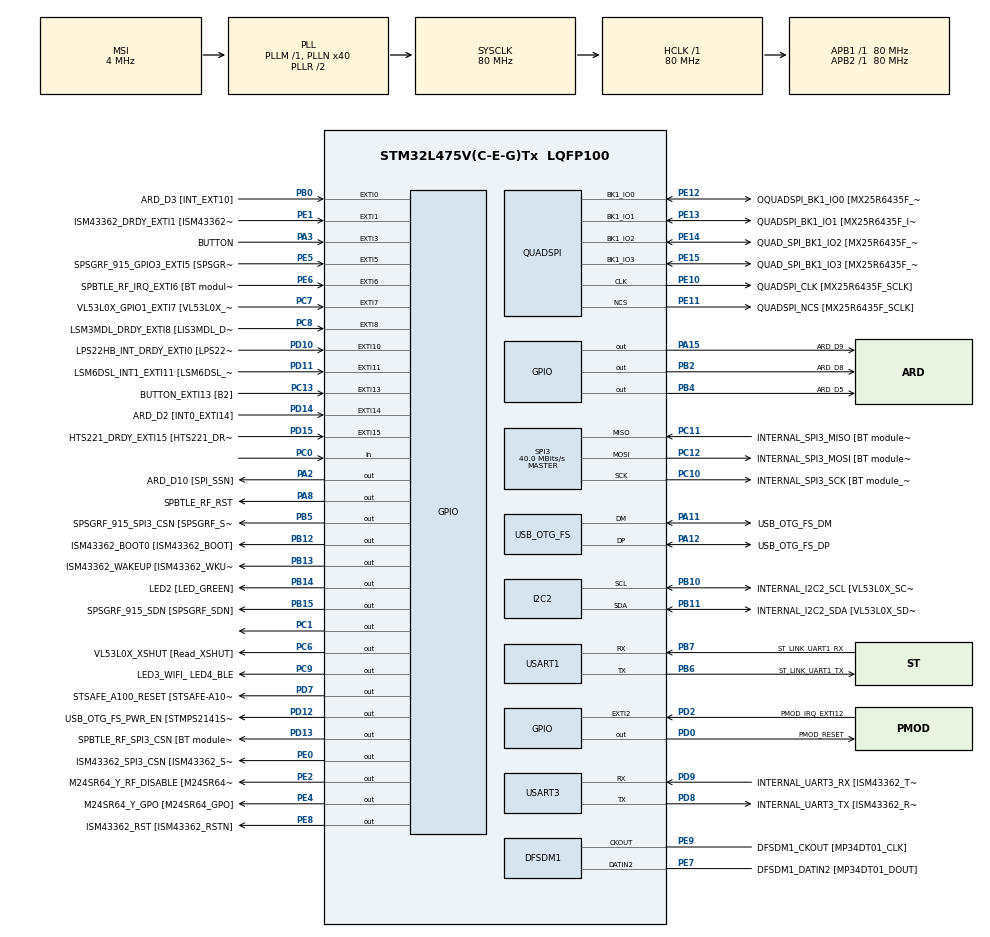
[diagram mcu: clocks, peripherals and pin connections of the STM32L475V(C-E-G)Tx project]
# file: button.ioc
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FREERTOS.Tasks01=defaultTask,24,128,StartDefaultTask,Default,NULL,Dynamic,NULL,NULL
Mcu.Family=STM32L4
Mcu.Name=STM32L475V(C-E-G)Tx
Mcu.Package=LQFP100
NVIC.EXTI15_10_IRQn=true\:5\:0\:false\:false\:true\:true\:true\:true\:true
NVIC.EXTI3_IRQn=true\:5\:0\:false\:false\:true\:true\:true\:true\:true
NVIC.EXTI9_5_IRQn=true\:5\:0\:false\:false\:true\:true\:true\:true\:true
NVIC.PriorityGroup=NVIC_PRIORITYGROUP_4
PA0.GPIO_Label=ARD_D1 [UART4_TX]
PA0.Signal=UART4_TX
PA1.GPIO_Label=ARD_D0 [UART4_RX]
PA1.Signal=UART4_RX
PA10.GPIO_Label=USB_OTG_FS_ID
PA10.Signal=USB_OTG_FS_ID
PA11.GPIO_Label=USB_OTG_FS_DM
PA11.Mode=Device_Only
PA11.Signal=USB_OTG_FS_DM
PA12.GPIO_Label=USB_OTG_FS_DP
PA12.Mode=Device_Only
PA12.Signal=USB_OTG_FS_DP
PA13\ (JTMS-SWDIO).GPIO_Label=SYS_JTMS_SWDIO
PA13\ (JTMS-SWDIO).Mode=Serial_Wire
PA13\ (JTMS-SWDIO).Signal=SYS_JTMS-SWDIO
PA14\ (JTCK-SWCLK).GPIO_Label=SYS_JTCK_SWCLK
PA14\ (JTCK-SWCLK).Mode=Serial_Wire
PA14\ (JTCK-SWCLK).Signal=SYS_JTCK-SWCLK
PA15\ (JTDI).GPIO_Label=ARD_D9
PA15\ (JTDI).Signal=GPIO_Output
PA2.GPIO_Label=ARD_D10 [SPI_SSN]
PA2.Signal=GPIO_Output
PA3.GPIO_Label=BUTTON
PA3.GPIO_ModeDefaultEXTI=GPIO_MODE_IT_RISING_FALLING
PA3.GPIO_PuPd=GPIO_PULLUP
PA3.Signal=GPXTI3
PA4.GPIO_Label=ARD_D7
PA4.Signal=ADCx_IN9
PA5.GPIO_Label=ARD_D13 [SPI1_SCK]
PA5.Signal=SPI1_SCK
PA6.GPIO_Label=ARD_D12 [SPI1_MISO]
PA6.Signal=SPI1_MISO
PA7.GPIO_Label=ARD_D11 [SPI1_MOSI]
PA7.Signal=SPI1_MOSI
PA8.GPIO_Label=SPBTLE_RF_RST
PA8.Signal=GPIO_Output
PA9.GPIO_Label=USB_OTG_FS_VBUS [STMPS2141STR_OUT]
PA9.Signal=USB_OTG_FS_VBUS
PB0.GPIO_Label=ARD_D3 [INT_EXT10]
PB0.Signal=GPXTI0
PB1.GPIO_Label=ARD_D6 [ADC1_IN6]
PB1.Signal=ADCx_IN16
PB10.GPIO_Label=INTERNAL_I2C2_SCL [VL53L0X_SCL]
PB10.GPIO_Pu=GPIO_PULLUP
PB10.Mode=I2C
PB10.Signal=I2C2_SCL
PB11.GPIO_Label=INTERNAL_I2C2_SDA [VL53L0X_SDA]
PB11.GPIO_Pu=GPIO_PULLUP
PB11.Mode=I2C
PB11.Signal=I2C2_SDA
PB12.GPIO_Label=ISM43362_BOOT0 [ISM43362_BOOT]
PB12.Signal=GPIO_Output
PB13.GPIO_Label=ISM43362_WAKEUP [ISM43362_WKUP]
PB13.Signal=GPIO_Output
PB14.GPIO_Label=LED2 [LED_GREEN]
PB14.Signal=GPIO_Output
PB15.GPIO_Label=SPSGRF_915_SDN [SPSGRF_SDN]
PB15.Signal=GPIO_Output
PB2.GPIO_Label=ARD_D8
PB2.Signal=GPIO_Output
PB3\ (JTDO-TRACESWO).GPIO_Label=SYS_JTD0_SWO
PB3\ (JTDO-TRACESWO).Signal=SYS_JTDO-SWO
PB4\ (NJTRST).GPIO_Label=ARD_D5
PB4\ (NJTRST).Signal=GPIO_Output
PB5.GPIO_Label=SPSGRF_915_SPI3_CSN [SPSGRF_SPI_CS]
PB5.PinState=GPIO_PIN_SET
PB5.Signal=GPIO_Output
PB6.GPIO_Label=ST_LINK_UART1_TX
PB6.Mode=Asynchronous
PB6.Signal=USART1_TX
PB7.GPIO_Label=ST_LINK_UART1_RX
PB7.Mode=Asynchronous
PB7.Signal=USART1_RX
PB8.GPIO_Label=ARD_D15 [I2C1_SCL]
PB8.Signal=I2C1_SCL
PB9.GPIO_Label=ARD_D14 [I2C1_SDA]
PB9.Signal=I2C1_SDA
PC0.Signal=GPIO_Input
PC1.Signal=GPIO_Output
PC10.GPIO_Label=INTERNAL_SPI3_SCK [BT module_SPI_SCLK] [ISM43362_SCK]
PC10.Mode=Full_Duplex_Master
PC10.Signal=SPI3_SCK
PC11.GPIO_Label=INTERNAL_SPI3_MISO [BT module_SPI_MISO] [ISM43362_MISO]
PC11.Mode=Full_Duplex_Master
PC11.Signal=SPI3_MISO
PC12.GPIO_Label=INTERNAL_SPI3_MOSI [BT module_SPI_MOSI] [ISM43362_MOSI]
PC12.Mode=Full_Duplex_Master
PC12.Signal=SPI3_MOSI
PC13.GPIO_Label=BUTTON_EXTI13 [B2]
PC13.GPIO_ModeDefaultEXTI=GPIO_MODE_IT_FALLING
PC13.Signal=GPXTI13
PC14-OSC32_IN\ (PC14).Mode=LSE-External-Oscillator
PC14-OSC32_IN\ (PC14).Signal=RCC_OSC32_IN
PC15-OSC32_OUT\ (PC15).Mode=LSE-External-Oscillator
PC15-OSC32_OUT\ (PC15).Signal=RCC_OSC32_OUT
PC2.GPIO_Label=ARD_A3 [ADC]
PC2.Signal=ADCx_IN3
PC3.GPIO_Label=ARD_A2 [ADC]
PC3.Signal=ADCx_IN4
PC4.GPIO_Label=ARD_A1 [ADC]
PC4.Signal=ADCx_IN13
PC5.GPIO_Label=ARD_A0 [ADC]
PC5.Signal=ADCx_IN14
PC6.GPIO_Label=VL53L0X_XSHUT [Read_XSHUT]
PC6.Signal=GPIO_Output
PC7.GPIO_Label=VL53L0X_GPIO1_EXTI7 [VL53L0X_GPIO1]
PC7.Signal=GPXTI7
PC8.GPIO_Label=LSM3MDL_DRDY_EXTI8 [LIS3MDL_DRDY]
PC8.Signal=GPXTI8
PC9.GPIO_Label=LED3_WIFI_ LED4_BLE
PC9.Signal=GPIO_Output
PD0.GPIO_Label=PMOD_RESET
PD0.Signal=GPIO_Output
PD1.GPIO_Label=PMOD_SPI2_SCK
PD1.Signal=SPI2_SCK
PD10.GPIO_Label=LPS22HB_INT_DRDY_EXTI0 [LPS22HB_INT_DRDY] 
PD10.Signal=GPXTI10
PD11.GPIO_Label=LSM6DSL_INT1_EXTI11 [LSM6DSL_INT1]
PD11.Signal=GPXTI11
PD12.GPIO_Label=USB_OTG_FS_PWR_EN [STMPS2141STR_EN]
PD12.Signal=GPIO_Output
PD13.GPIO_Label=SPBTLE_RF_SPI3_CSN [BT module_SPI_CS]
PD13.PinState=GPIO_PIN_SET
PD13.Signal=GPIO_Output
PD14.GPIO_Label=ARD_D2 [INT0_EXTI14]
PD14.Signal=GPXTI14
PD15.GPIO_Label=HTS221_DRDY_EXTI15 [HTS221_DRDY]
PD15.Signal=GPXTI15
PD2.GPIO_Label=PMOD_IRQ_EXTI12
PD2.Signal=GPXTI2
PD3.GPIO_Label=PMOD_UART2_CTS
PD3.Signal=USART2_CTS
PD4.GPIO_Label=PMOD_UART2_RTS
PD4.Signal=USART2_RTS
PD5.GPIO_Label=PMOD_UART2_TX
PD5.Signal=USART2_TX
PD6.GPIO_Label=PMOD_UART2_RX
PD6.Signal=USART2_RX
PD7.GPIO_Label=STSAFE_A100_RESET [STSAFE-A100_RESET]
PD7.Signal=GPIO_Output
PD8.GPIO_Label=INTERNAL_UART3_TX [ISM43362_RX]
PD8.Mode=Asynchronous
PD8.Signal=USART3_TX
PD9.GPIO_Label=INTERNAL_UART3_RX [ISM43362_TX]
PD9.Mode=Asynchronous
PD9.Signal=USART3_RX
PE0.GPIO_Label=ISM43362_SPI3_CSN [ISM43362_SSN]
PE0.PinState=GPIO_PIN_SET
PE0.Signal=GPIO_Output
PE1.GPIO_Label=ISM43362_DRDY_EXTI1 [ISM43362_DATARDY]
PE1.Signal=GPXTI1
PE10.GPIO_Label=QUADSPI_CLK [MX25R6435F_SCLK]
PE10.Mode=Single Bank
PE10.Signal=QUADSPI_CLK
PE11.GPIO_Label=QUADSPI_NCS [MX25R6435F_SCLK]
PE11.Mode=Single Bank
PE11.Signal=QUADSPI_NCS
PE12.GPIO_Label=OQUADSPI_BK1_IO0 [MX25R6435F_IO0]
PE12.Mode=Single Bank
PE12.Signal=QUADSPI_BK1_IO0
PE13.GPIO_Label=QUADSPI_BK1_IO1 [MX25R6435F_IO1]
PE13.Mode=Single Bank
PE13.Signal=QUADSPI_BK1_IO1
PE14.GPIO_Label=QUAD_SPI_BK1_IO2 [MX25R6435F_IO2]
PE14.Mode=Single Bank
PE14.Signal=QUADSPI_BK1_IO2
PE15.GPIO_Label=QUAD_SPI_BK1_IO3 [MX25R6435F_IO3]
PE15.Mode=Single Bank
PE15.Signal=QUADSPI_BK1_IO3
PE2.GPIO_Label=M24SR64_Y_RF_DISABLE [M24SR64_RFDIS]
PE2.Signal=GPIO_Output
PE4.GPIO_Label=M24SR64_Y_GPO [M24SR64_GPO]
PE4.Signal=GPIO_Output
PE5.GPIO_Label=SPSGRF_915_GPIO3_EXTI5 [SPSGRF_GPIO_3]
PE5.Signal=GPXTI5
PE6.GPIO_Label=SPBTLE_RF_IRQ_EXTI6 [BT module_SPI_IRQ]
PE6.Signal=GPXTI6
PE7.GPIO_Label=DFSDM1_DATIN2 [MP34DT01_DOUT]
PE7.Signal=S_DATAIN2DFSDM1
PE8.GPIO_Label=ISM43362_RST [ISM43362_RSTN]
PE8.Signal=GPIO_Output
PE9.GPIO_Label=DFSDM1_CKOUT [MP34DT01_CLK]
PE9.Signal=S_CKOUTDFSDM1
PH0-OSC_IN\ (PH0).Mode=HSE-External-Oscillator
PH0-OSC_IN\ (PH0).Signal=RCC_OSC_IN
PH1-OSC_OUT\ (PH1).Mode=HSE-External-Oscillator
PH1-OSC_OUT\ (PH1).Signal=RCC_OSC_OUT
ProjectManager.HeapSize=0x200
ProjectManager.StackSize=0x400
ProjectManager.TargetToolchain=STM32CubeIDE
QUADSPI.ClockPrescaler=2
QUADSPI.FifoThreshold=4
QUADSPI.FlashSize=23
QUADSPI.SampleShifting=QSPI_SAMPLE_SHIFTING_HALFCYCLE
RCC.ADCFreq_Value=48000000
RCC.AHBFreq_Value=80000000
RCC.APB1Freq_Value=80000000
RCC.APB1TimFreq_Value=80000000
RCC.APB2Freq_Value=80000000
RCC.APB2TimFreq_Value=80000000
RCC.CortexFreq_Value=80000000
RCC.HCLKFreq_Value=80000000
RCC.HSE_VALUE=8000000
RCC.HSI_VALUE=16000000
RCC.MSI_VALUE=4000000
RCC.PLLN=40
RCC.PLLSAI1N=24
RCC.SYSCLKFreq_VALUE=80000000
RCC.SYSCLKSource=RCC_SYSCLKSOURCE_PLLCLK
RCC.USBFreq_Value=48000000
RCC.VCOOutputFreq_Value=160000000
SH.ADCx_IN13.0=ADC1_IN13
SH.ADCx_IN14.0=ADC1_IN14
SH.ADCx_IN16.0=ADC1_IN16
SH.ADCx_IN3.0=ADC1_IN3
SH.ADCx_IN4.0=ADC1_IN4
SH.ADCx_IN9.0=ADC1_IN9
SH.S_CKOUTDFSDM1.0=DFSDM1_CKOUT,CKOUT
SH.S_CKOUTDFSDM1.1=DFSDM1_CKOUT,PDM_SPI_Input_from_ch12_and_Internal_Clock
SH.S_DATAIN2DFSDM1.0=DFSDM1_DATIN2,PDM_SPI_Input_from_ch12_and_Internal_Clock
SPI3.CalculateBaudRate=40.0 MBits/s
SPI3.Direction=SPI_DIRECTION_2LINES
SPI3.Mode=SPI_MODE_MASTER
SPI3.VirtualType=VM_MASTER
USART1.VirtualMode-Asynchronous=VM_ASYNC
USART3.VirtualMode-Asynchronous=VM_ASYNC
USB_OTG_FS.VirtualMode=Device_Only
VP_FREERTOS_VS_CMSIS_V2.Mode=CMSIS_V2
board=B-L475E-IOT01A2

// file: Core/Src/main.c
/* USER CODE BEGIN Header */
/**
  ******************************************************************************
  * @file           : main.c
  * @brief          : Main program body
  ******************************************************************************
  * @attention
  *
  * Copyright (c) 2025 STMicroelectronics.
  * All rights reserved.
  *
  * This software is licensed under terms that can be found in the LICENSE file
  * in the root directory of this software component.
  * If no LICENSE file comes with this software, it is provided AS-IS.
  *
  ******************************************************************************
  */
/* USER CODE END Header */
#include "main.h"
#include "cmsis_os.h"

/* USER CODE BEGIN Includes */
#include <stdio.h>
/* USER CODE END Includes */

DFSDM_Channel_HandleTypeDef hdfsdm1_channel1;

I2C_HandleTypeDef hi2c2;

QSPI_HandleTypeDef hqspi;

SPI_HandleTypeDef hspi3;

UART_HandleTypeDef huart1;
UART_HandleTypeDef huart3;

PCD_HandleTypeDef hpcd_USB_OTG_FS;

/* Definitions for defaultTask */
osThreadId_t defaultTaskHandle;
const osThreadAttr_t defaultTask_attributes = {
  .name = "defaultTask",
  .stack_size = 128 * 4,
  .priority = (osPriority_t) osPriorityNormal,
};

void SystemClock_Config(void);
static void MX_GPIO_Init(void);
static void MX_DFSDM1_Init(void);
static void MX_I2C2_Init(void);
static void MX_QUADSPI_Init(void);
static void MX_SPI3_Init(void);
static void MX_USART1_UART_Init(void);
static void MX_USART3_UART_Init(void);
static void MX_USB_OTG_FS_PCD_Init(void);
void StartDefaultTask(void *argument);

/* USER CODE BEGIN 0 */
int __io_putchar(int ch)
{
	HAL_UART_Transmit(&huart1, (uint8_t *)&ch, 1, 0xFFFF);
	return ch;
}
/* USER CODE END 0 */

int main(void)
{

  /* MCU Configuration--------------------------------------------------------*/

  /* Reset of all peripherals, Initializes the Flash interface and the Systick. */
  HAL_Init();

  /* Configure the system clock */
  SystemClock_Config();

  /* Initialize all configured peripherals */
  MX_GPIO_Init();
  MX_DFSDM1_Init();
  MX_I2C2_Init();
  MX_QUADSPI_Init();
  MX_SPI3_Init();
  MX_USART1_UART_Init();
  MX_USART3_UART_Init();
  MX_USB_OTG_FS_PCD_Init();
  /* USER CODE BEGIN 2 */
  printf("init\n");
  /* USER CODE END 2 */

  /* Init scheduler */
  osKernelInitialize();

  /* Create the thread(s) */
  /* creation of defaultTask */
  defaultTaskHandle = osThreadNew(StartDefaultTask, NULL, &defaultTask_attributes);

  /* Start scheduler */
  osKernelStart();

  /* We should never get here as control is now taken by the scheduler */

  /* Infinite loop */
  /* USER CODE BEGIN WHILE */
  while (1)
  {
//	if(HAL_GPIO_ReadPin(GPIOB, GPIO_PIN_1) == GPIO_PIN_RESET){
//		HAL_GPIO_WritePin(GPIOA, GPIO_PIN_1, 0);
//	}
//	else{
//		HAL_GPIO_WritePin(GPIOA, GPIO_PIN_1, 1);
//	}
    /* USER CODE END WHILE */

  }
}

void SystemClock_Config(void)
{
  RCC_OscInitTypeDef RCC_OscInitStruct = {0};
  RCC_ClkInitTypeDef RCC_ClkInitStruct = {0};

  /** Configure the main internal regulator output voltage
  */
  if (HAL_PWREx_ControlVoltageScaling(PWR_REGULATOR_VOLTAGE_SCALE1) != HAL_OK)
  {
    Error_Handler();
  }

  /** Configure LSE Drive Capability
  */
  HAL_PWR_EnableBkUpAccess();
  __HAL_RCC_LSEDRIVE_CONFIG(RCC_LSEDRIVE_LOW);

  /** Initializes the RCC Oscillators according to the specified parameters
  * in the RCC_OscInitTypeDef structure.
  */
  RCC_OscInitStruct.OscillatorType = RCC_OSCILLATORTYPE_LSE|RCC_OSCILLATORTYPE_MSI;
  RCC_OscInitStruct.LSEState = RCC_LSE_ON;
  RCC_OscInitStruct.MSIState = RCC_MSI_ON;
  RCC_OscInitStruct.MSICalibrationValue = 0;
  RCC_OscInitStruct.MSIClockRange = RCC_MSIRANGE_6;
  RCC_OscInitStruct.PLL.PLLState = RCC_PLL_ON;
  RCC_OscInitStruct.PLL.PLLSource = RCC_PLLSOURCE_MSI;
  RCC_OscInitStruct.PLL.PLLM = 1;
  RCC_OscInitStruct.PLL.PLLN = 40;
  RCC_OscInitStruct.PLL.PLLP = RCC_PLLP_DIV7;
  RCC_OscInitStruct.PLL.PLLQ = RCC_PLLQ_DIV2;
  RCC_OscInitStruct.PLL.PLLR = RCC_PLLR_DIV2;
  if (HAL_RCC_OscConfig(&RCC_OscInitStruct) != HAL_OK)
  {
    Error_Handler();
  }

  /** Initializes the CPU, AHB and APB buses clocks
  */
  RCC_ClkInitStruct.ClockType = RCC_CLOCKTYPE_HCLK|RCC_CLOCKTYPE_SYSCLK
                              |RCC_CLOCKTYPE_PCLK1|RCC_CLOCKTYPE_PCLK2;
  RCC_ClkInitStruct.SYSCLKSource = RCC_SYSCLKSOURCE_PLLCLK;
  RCC_ClkInitStruct.AHBCLKDivider = RCC_SYSCLK_DIV1;
  RCC_ClkInitStruct.APB1CLKDivider = RCC_HCLK_DIV1;
  RCC_ClkInitStruct.APB2CLKDivider = RCC_HCLK_DIV1;

  if (HAL_RCC_ClockConfig(&RCC_ClkInitStruct, FLASH_LATENCY_4) != HAL_OK)
  {
    Error_Handler();
  }

  /** Enable MSI Auto calibration
  */
  HAL_RCCEx_EnableMSIPLLMode();
}

static void MX_DFSDM1_Init(void)
{

  hdfsdm1_channel1.Instance = DFSDM1_Channel1;
  hdfsdm1_channel1.Init.OutputClock.Activation = ENABLE;
  hdfsdm1_channel1.Init.OutputClock.Selection = DFSDM_CHANNEL_OUTPUT_CLOCK_SYSTEM;
  hdfsdm1_channel1.Init.OutputClock.Divider = 2;
  hdfsdm1_channel1.Init.Input.Multiplexer = DFSDM_CHANNEL_EXTERNAL_INPUTS;
  hdfsdm1_channel1.Init.Input.DataPacking = DFSDM_CHANNEL_STANDARD_MODE;
  hdfsdm1_channel1.Init.Input.Pins = DFSDM_CHANNEL_FOLLOWING_CHANNEL_PINS;
  hdfsdm1_channel1.Init.SerialInterface.Type = DFSDM_CHANNEL_SPI_RISING;
  hdfsdm1_channel1.Init.SerialInterface.SpiClock = DFSDM_CHANNEL_SPI_CLOCK_INTERNAL;
  hdfsdm1_channel1.Init.Awd.FilterOrder = DFSDM_CHANNEL_FASTSINC_ORDER;
  hdfsdm1_channel1.Init.Awd.Oversampling = 1;
  hdfsdm1_channel1.Init.Offset = 0;
  hdfsdm1_channel1.Init.RightBitShift = 0x00;
  if (HAL_DFSDM_ChannelInit(&hdfsdm1_channel1) != HAL_OK)
  {
    Error_Handler();
  }

}

static void MX_I2C2_Init(void)
{

  hi2c2.Instance = I2C2;
  hi2c2.Init.Timing = 0x00000E14;
  hi2c2.Init.OwnAddress1 = 0;
  hi2c2.Init.AddressingMode = I2C_ADDRESSINGMODE_7BIT;
  hi2c2.Init.DualAddressMode = I2C_DUALADDRESS_DISABLE;
  hi2c2.Init.OwnAddress2 = 0;
  hi2c2.Init.OwnAddress2Masks = I2C_OA2_NOMASK;
  hi2c2.Init.GeneralCallMode = I2C_GENERALCALL_DISABLE;
  hi2c2.Init.NoStretchMode = I2C_NOSTRETCH_DISABLE;
  if (HAL_I2C_Init(&hi2c2) != HAL_OK)
  {
    Error_Handler();
  }

  /** Configure Analogue filter
  */
  if (HAL_I2CEx_ConfigAnalogFilter(&hi2c2, I2C_ANALOGFILTER_ENABLE) != HAL_OK)
  {
    Error_Handler();
  }

  /** Configure Digital filter
  */
  if (HAL_I2CEx_ConfigDigitalFilter(&hi2c2, 0) != HAL_OK)
  {
    Error_Handler();
  }

}

static void MX_QUADSPI_Init(void)
{

  /* QUADSPI parameter configuration*/
  hqspi.Instance = QUADSPI;
  hqspi.Init.ClockPrescaler = 2;
  hqspi.Init.FifoThreshold = 4;
  hqspi.Init.SampleShifting = QSPI_SAMPLE_SHIFTING_HALFCYCLE;
  hqspi.Init.FlashSize = 23;
  hqspi.Init.ChipSelectHighTime = QSPI_CS_HIGH_TIME_1_CYCLE;
  hqspi.Init.ClockMode = QSPI_CLOCK_MODE_0;
  if (HAL_QSPI_Init(&hqspi) != HAL_OK)
  {
    Error_Handler();
  }

}

static void MX_SPI3_Init(void)
{

  /* SPI3 parameter configuration*/
  hspi3.Instance = SPI3;
  hspi3.Init.Mode = SPI_MODE_MASTER;
  hspi3.Init.Direction = SPI_DIRECTION_2LINES;
  hspi3.Init.DataSize = SPI_DATASIZE_4BIT;
  hspi3.Init.CLKPolarity = SPI_POLARITY_LOW;
  hspi3.Init.CLKPhase = SPI_PHASE_1EDGE;
  hspi3.Init.NSS = SPI_NSS_SOFT;
  hspi3.Init.BaudRatePrescaler = SPI_BAUDRATEPRESCALER_2;
  hspi3.Init.FirstBit = SPI_FIRSTBIT_MSB;
  hspi3.Init.TIMode = SPI_TIMODE_DISABLE;
  hspi3.Init.CRCCalculation = SPI_CRCCALCULATION_DISABLE;
  hspi3.Init.CRCPolynomial = 7;
  hspi3.Init.CRCLength = SPI_CRC_LENGTH_DATASIZE;
  hspi3.Init.NSSPMode = SPI_NSS_PULSE_ENABLE;
  if (HAL_SPI_Init(&hspi3) != HAL_OK)
  {
    Error_Handler();
  }

}

static void MX_USART1_UART_Init(void)
{

  huart1.Instance = USART1;
  huart1.Init.BaudRate = 115200;
  huart1.Init.WordLength = UART_WORDLENGTH_8B;
  huart1.Init.StopBits = UART_STOPBITS_1;
  huart1.Init.Parity = UART_PARITY_NONE;
  huart1.Init.Mode = UART_MODE_TX_RX;
  huart1.Init.HwFlowCtl = UART_HWCONTROL_NONE;
  huart1.Init.OverSampling = UART_OVERSAMPLING_16;
  huart1.Init.OneBitSampling = UART_ONE_BIT_SAMPLE_DISABLE;
  huart1.AdvancedInit.AdvFeatureInit = UART_ADVFEATURE_NO_INIT;
  if (HAL_UART_Init(&huart1) != HAL_OK)
  {
    Error_Handler();
  }

}

static void MX_USART3_UART_Init(void)
{

  huart3.Instance = USART3;
  huart3.Init.BaudRate = 115200;
  huart3.Init.WordLength = UART_WORDLENGTH_8B;
  huart3.Init.StopBits = UART_STOPBITS_1;
  huart3.Init.Parity = UART_PARITY_NONE;
  huart3.Init.Mode = UART_MODE_TX_RX;
  huart3.Init.HwFlowCtl = UART_HWCONTROL_NONE;
  huart3.Init.OverSampling = UART_OVERSAMPLING_16;
  huart3.Init.OneBitSampling = UART_ONE_BIT_SAMPLE_DISABLE;
  huart3.AdvancedInit.AdvFeatureInit = UART_ADVFEATURE_NO_INIT;
  if (HAL_UART_Init(&huart3) != HAL_OK)
  {
    Error_Handler();
  }

}

static void MX_USB_OTG_FS_PCD_Init(void)
{

  hpcd_USB_OTG_FS.Instance = USB_OTG_FS;
  hpcd_USB_OTG_FS.Init.dev_endpoints = 6;
  hpcd_USB_OTG_FS.Init.speed = PCD_SPEED_FULL;
  hpcd_USB_OTG_FS.Init.phy_itface = PCD_PHY_EMBEDDED;
  hpcd_USB_OTG_FS.Init.Sof_enable = DISABLE;
  hpcd_USB_OTG_FS.Init.low_power_enable = DISABLE;
  hpcd_USB_OTG_FS.Init.lpm_enable = DISABLE;
  hpcd_USB_OTG_FS.Init.battery_charging_enable = DISABLE;
  hpcd_USB_OTG_FS.Init.use_dedicated_ep1 = DISABLE;
  hpcd_USB_OTG_FS.Init.vbus_sensing_enable = DISABLE;
  if (HAL_PCD_Init(&hpcd_USB_OTG_FS) != HAL_OK)
  {
    Error_Handler();
  }

}

static void MX_GPIO_Init(void)
{
  GPIO_InitTypeDef GPIO_InitStruct = {0};

  /* GPIO Ports Clock Enable */
  __HAL_RCC_GPIOE_CLK_ENABLE();
  __HAL_RCC_GPIOC_CLK_ENABLE();
  __HAL_RCC_GPIOH_CLK_ENABLE();
  __HAL_RCC_GPIOA_CLK_ENABLE();
  __HAL_RCC_GPIOB_CLK_ENABLE();
  __HAL_RCC_GPIOD_CLK_ENABLE();

  /*Configure GPIO pin Output Level */
  HAL_GPIO_WritePin(GPIOE, M24SR64_Y_RF_DISABLE_Pin|M24SR64_Y_GPO_Pin|ISM43362_RST_Pin, GPIO_PIN_RESET);

  /*Configure GPIO pin Output Level */
  HAL_GPIO_WritePin(GPIOC, GPIO_PIN_1|VL53L0X_XSHUT_Pin|LED3_WIFI__LED4_BLE_Pin, GPIO_PIN_RESET);

  /*Configure GPIO pin Output Level */
  HAL_GPIO_WritePin(GPIOA, ARD_D10_Pin|SPBTLE_RF_RST_Pin|ARD_D9_Pin, GPIO_PIN_RESET);

  /*Configure GPIO pin Output Level */
  HAL_GPIO_WritePin(GPIOB, ARD_D8_Pin|ISM43362_BOOT0_Pin|ISM43362_WAKEUP_Pin|LED2_Pin
                          |SPSGRF_915_SDN_Pin|ARD_D5_Pin, GPIO_PIN_RESET);

  /*Configure GPIO pin Output Level */
  HAL_GPIO_WritePin(GPIOD, USB_OTG_FS_PWR_EN_Pin|PMOD_RESET_Pin|STSAFE_A100_RESET_Pin, GPIO_PIN_RESET);

  /*Configure GPIO pin Output Level */
  HAL_GPIO_WritePin(SPBTLE_RF_SPI3_CSN_GPIO_Port, SPBTLE_RF_SPI3_CSN_Pin, GPIO_PIN_SET);

  /*Configure GPIO pin Output Level */
  HAL_GPIO_WritePin(SPSGRF_915_SPI3_CSN_GPIO_Port, SPSGRF_915_SPI3_CSN_Pin, GPIO_PIN_SET);

  /*Configure GPIO pin Output Level */
  HAL_GPIO_WritePin(ISM43362_SPI3_CSN_GPIO_Port, ISM43362_SPI3_CSN_Pin, GPIO_PIN_SET);

  /*Configure GPIO pins : M24SR64_Y_RF_DISABLE_Pin M24SR64_Y_GPO_Pin ISM43362_RST_Pin ISM43362_SPI3_CSN_Pin */
  GPIO_InitStruct.Pin = M24SR64_Y_RF_DISABLE_Pin|M24SR64_Y_GPO_Pin|ISM43362_RST_Pin|ISM43362_SPI3_CSN_Pin;
  GPIO_InitStruct.Mode = GPIO_MODE_OUTPUT_PP;
  GPIO_InitStruct.Pull = GPIO_NOPULL;
  GPIO_InitStruct.Speed = GPIO_SPEED_FREQ_LOW;
  HAL_GPIO_Init(GPIOE, &GPIO_InitStruct);

  /*Configure GPIO pins : SPSGRF_915_GPIO3_EXTI5_Pin SPBTLE_RF_IRQ_EXTI6_Pin ISM43362_DRDY_EXTI1_Pin */
  GPIO_InitStruct.Pin = SPSGRF_915_GPIO3_EXTI5_Pin|SPBTLE_RF_IRQ_EXTI6_Pin|ISM43362_DRDY_EXTI1_Pin;
  GPIO_InitStruct.Mode = GPIO_MODE_IT_RISING;
  GPIO_InitStruct.Pull = GPIO_NOPULL;
  HAL_GPIO_Init(GPIOE, &GPIO_InitStruct);

  /*Configure GPIO pin : BUTTON_EXTI13_Pin */
  GPIO_InitStruct.Pin = BUTTON_EXTI13_Pin;
  GPIO_InitStruct.Mode = GPIO_MODE_IT_FALLING;
  GPIO_InitStruct.Pull = GPIO_NOPULL;
  HAL_GPIO_Init(BUTTON_EXTI13_GPIO_Port, &GPIO_InitStruct);

  /*Configure GPIO pin : PC0 */
  GPIO_InitStruct.Pin = GPIO_PIN_0;
  GPIO_InitStruct.Mode = GPIO_MODE_INPUT;
  GPIO_InitStruct.Pull = GPIO_NOPULL;
  HAL_GPIO_Init(GPIOC, &GPIO_InitStruct);

  /*Configure GPIO pins : PC1 VL53L0X_XSHUT_Pin LED3_WIFI__LED4_BLE_Pin */
  GPIO_InitStruct.Pin = GPIO_PIN_1|VL53L0X_XSHUT_Pin|LED3_WIFI__LED4_BLE_Pin;
  GPIO_InitStruct.Mode = GPIO_MODE_OUTPUT_PP;
  GPIO_InitStruct.Pull = GPIO_NOPULL;
  GPIO_InitStruct.Speed = GPIO_SPEED_FREQ_LOW;
  HAL_GPIO_Init(GPIOC, &GPIO_InitStruct);

  /*Configure GPIO pins : ARD_A3_Pin ARD_A2_Pin ARD_A1_Pin ARD_A0_Pin */
  GPIO_InitStruct.Pin = ARD_A3_Pin|ARD_A2_Pin|ARD_A1_Pin|ARD_A0_Pin;
  GPIO_InitStruct.Mode = GPIO_MODE_ANALOG_ADC_CONTROL;
  GPIO_InitStruct.Pull = GPIO_NOPULL;
  HAL_GPIO_Init(GPIOC, &GPIO_InitStruct);

  /*Configure GPIO pins : ARD_D1_Pin ARD_D0_Pin */
  GPIO_InitStruct.Pin = ARD_D1_Pin|ARD_D0_Pin;
  GPIO_InitStruct.Mode = GPIO_MODE_AF_PP;
  GPIO_InitStruct.Pull = GPIO_NOPULL;
  GPIO_InitStruct.Speed = GPIO_SPEED_FREQ_VERY_HIGH;
  GPIO_InitStruct.Alternate = GPIO_AF8_UART4;
  HAL_GPIO_Init(GPIOA, &GPIO_InitStruct);

  /*Configure GPIO pins : ARD_D10_Pin SPBTLE_RF_RST_Pin ARD_D9_Pin */
  GPIO_InitStruct.Pin = ARD_D10_Pin|SPBTLE_RF_RST_Pin|ARD_D9_Pin;
  GPIO_InitStruct.Mode = GPIO_MODE_OUTPUT_PP;
  GPIO_InitStruct.Pull = GPIO_NOPULL;
  GPIO_InitStruct.Speed = GPIO_SPEED_FREQ_LOW;
  HAL_GPIO_Init(GPIOA, &GPIO_InitStruct);

  /*Configure GPIO pin : BUTTON_Pin */
  GPIO_InitStruct.Pin = BUTTON_Pin;
  GPIO_InitStruct.Mode = GPIO_MODE_IT_RISING_FALLING;
  GPIO_InitStruct.Pull = GPIO_PULLUP;
  HAL_GPIO_Init(BUTTON_GPIO_Port, &GPIO_InitStruct);

  /*Configure GPIO pin : ARD_D7_Pin */
  GPIO_InitStruct.Pin = ARD_D7_Pin;
  GPIO_InitStruct.Mode = GPIO_MODE_ANALOG_ADC_CONTROL;
  GPIO_InitStruct.Pull = GPIO_NOPULL;
  HAL_GPIO_Init(ARD_D7_GPIO_Port, &GPIO_InitStruct);

  /*Configure GPIO pins : ARD_D13_Pin ARD_D12_Pin ARD_D11_Pin */
  GPIO_InitStruct.Pin = ARD_D13_Pin|ARD_D12_Pin|ARD_D11_Pin;
  GPIO_InitStruct.Mode = GPIO_MODE_AF_PP;
  GPIO_InitStruct.Pull = GPIO_NOPULL;
  GPIO_InitStruct.Speed = GPIO_SPEED_FREQ_VERY_HIGH;
  GPIO_InitStruct.Alternate = GPIO_AF5_SPI1;
  HAL_GPIO_Init(GPIOA, &GPIO_InitStruct);

  /*Configure GPIO pin : ARD_D3_Pin */
  GPIO_InitStruct.Pin = ARD_D3_Pin;
  GPIO_InitStruct.Mode = GPIO_MODE_IT_RISING;
  GPIO_InitStruct.Pull = GPIO_NOPULL;
  HAL_GPIO_Init(ARD_D3_GPIO_Port, &GPIO_InitStruct);

  /*Configure GPIO pin : ARD_D6_Pin */
  GPIO_InitStruct.Pin = ARD_D6_Pin;
  GPIO_InitStruct.Mode = GPIO_MODE_ANALOG_ADC_CONTROL;
  GPIO_InitStruct.Pull = GPIO_NOPULL;
  HAL_GPIO_Init(ARD_D6_GPIO_Port, &GPIO_InitStruct);

  /*Configure GPIO pins : ARD_D8_Pin ISM43362_BOOT0_Pin ISM43362_WAKEUP_Pin LED2_Pin
                           SPSGRF_915_SDN_Pin ARD_D5_Pin SPSGRF_915_SPI3_CSN_Pin */
  GPIO_InitStruct.Pin = ARD_D8_Pin|ISM43362_BOOT0_Pin|ISM43362_WAKEUP_Pin|LED2_Pin
                          |SPSGRF_915_SDN_Pin|ARD_D5_Pin|SPSGRF_915_SPI3_CSN_Pin;
  GPIO_InitStruct.Mode = GPIO_MODE_OUTPUT_PP;
  GPIO_InitStruct.Pull = GPIO_NOPULL;
  GPIO_InitStruct.Speed = GPIO_SPEED_FREQ_LOW;
  HAL_GPIO_Init(GPIOB, &GPIO_InitStruct);

  /*Configure GPIO pins : LPS22HB_INT_DRDY_EXTI0_Pin LSM6DSL_INT1_EXTI11_Pin ARD_D2_Pin HTS221_DRDY_EXTI15_Pin
                           PMOD_IRQ_EXTI12_Pin */
  GPIO_InitStruct.Pin = LPS22HB_INT_DRDY_EXTI0_Pin|LSM6DSL_INT1_EXTI11_Pin|ARD_D2_Pin|HTS221_DRDY_EXTI15_Pin
                          |PMOD_IRQ_EXTI12_Pin;
  GPIO_InitStruct.Mode = GPIO_MODE_IT_RISING;
  GPIO_InitStruct.Pull = GPIO_NOPULL;
  HAL_GPIO_Init(GPIOD, &GPIO_InitStruct);

  /*Configure GPIO pins : USB_OTG_FS_PWR_EN_Pin SPBTLE_RF_SPI3_CSN_Pin PMOD_RESET_Pin STSAFE_A100_RESET_Pin */
  GPIO_InitStruct.Pin = USB_OTG_FS_PWR_EN_Pin|SPBTLE_RF_SPI3_CSN_Pin|PMOD_RESET_Pin|STSAFE_A100_RESET_Pin;
  GPIO_InitStruct.Mode = GPIO_MODE_OUTPUT_PP;
  GPIO_InitStruct.Pull = GPIO_NOPULL;
  GPIO_InitStruct.Speed = GPIO_SPEED_FREQ_LOW;
  HAL_GPIO_Init(GPIOD, &GPIO_InitStruct);

  /*Configure GPIO pins : VL53L0X_GPIO1_EXTI7_Pin LSM3MDL_DRDY_EXTI8_Pin */
  GPIO_InitStruct.Pin = VL53L0X_GPIO1_EXTI7_Pin|LSM3MDL_DRDY_EXTI8_Pin;
  GPIO_InitStruct.Mode = GPIO_MODE_IT_RISING;
  GPIO_InitStruct.Pull = GPIO_NOPULL;
  HAL_GPIO_Init(GPIOC, &GPIO_InitStruct);

  /*Configure GPIO pin : PMOD_SPI2_SCK_Pin */
  GPIO_InitStruct.Pin = PMOD_SPI2_SCK_Pin;
  GPIO_InitStruct.Mode = GPIO_MODE_AF_PP;
  GPIO_InitStruct.Pull = GPIO_NOPULL;
  GPIO_InitStruct.Speed = GPIO_SPEED_FREQ_VERY_HIGH;
  GPIO_InitStruct.Alternate = GPIO_AF5_SPI2;
  HAL_GPIO_Init(PMOD_SPI2_SCK_GPIO_Port, &GPIO_InitStruct);

  /*Configure GPIO pins : PMOD_UART2_CTS_Pin PMOD_UART2_RTS_Pin PMOD_UART2_TX_Pin PMOD_UART2_RX_Pin */
  GPIO_InitStruct.Pin = PMOD_UART2_CTS_Pin|PMOD_UART2_RTS_Pin|PMOD_UART2_TX_Pin|PMOD_UART2_RX_Pin;
  GPIO_InitStruct.Mode = GPIO_MODE_AF_PP;
  GPIO_InitStruct.Pull = GPIO_NOPULL;
  GPIO_InitStruct.Speed = GPIO_SPEED_FREQ_VERY_HIGH;
  GPIO_InitStruct.Alternate = GPIO_AF7_USART2;
  HAL_GPIO_Init(GPIOD, &GPIO_InitStruct);

  /*Configure GPIO pins : ARD_D15_Pin ARD_D14_Pin */
  GPIO_InitStruct.Pin = ARD_D15_Pin|ARD_D14_Pin;
  GPIO_InitStruct.Mode = GPIO_MODE_AF_OD;
  GPIO_InitStruct.Pull = GPIO_NOPULL;
  GPIO_InitStruct.Speed = GPIO_SPEED_FREQ_VERY_HIGH;
  GPIO_InitStruct.Alternate = GPIO_AF4_I2C1;
  HAL_GPIO_Init(GPIOB, &GPIO_InitStruct);

  /* EXTI interrupt init*/
  HAL_NVIC_SetPriority(EXTI3_IRQn, 5, 0);
  HAL_NVIC_EnableIRQ(EXTI3_IRQn);

  HAL_NVIC_SetPriority(EXTI9_5_IRQn, 5, 0);
  HAL_NVIC_EnableIRQ(EXTI9_5_IRQn);

  HAL_NVIC_SetPriority(EXTI15_10_IRQn, 5, 0);
  HAL_NVIC_EnableIRQ(EXTI15_10_IRQn);

}

/* USER CODE BEGIN 4 */
void HAL_GPIO_EXTI_Callback(uint16_t GPIO_Pin)
{
  switch (GPIO_Pin)
  {
	case(BUTTON_Pin):
	{
		if (HAL_GPIO_ReadPin(GPIOA, BUTTON_Pin) == GPIO_PIN_RESET)  // Falling edge (pressed)
		{
			printf("button pressed\n");
		}
		else  // Rising edge (released)
		{
			printf("button released\n");
			//StopStoringProcess();
		}
		break;
	}
    default:
    {
      break;
    }
  }
}
/* USER CODE END 4 */

void StartDefaultTask(void *argument)
{
  /* USER CODE BEGIN 5 */
  /* Infinite loop */
  for(;;)
  {
	  printf("%d\n",HAL_GPIO_ReadPin(GPIOA, BUTTON_Pin));
    osDelay(1000);
  }
  /* USER CODE END 5 */
}

void Error_Handler(void)
{
  __disable_irq();
  while (1)
  {
  }
}
